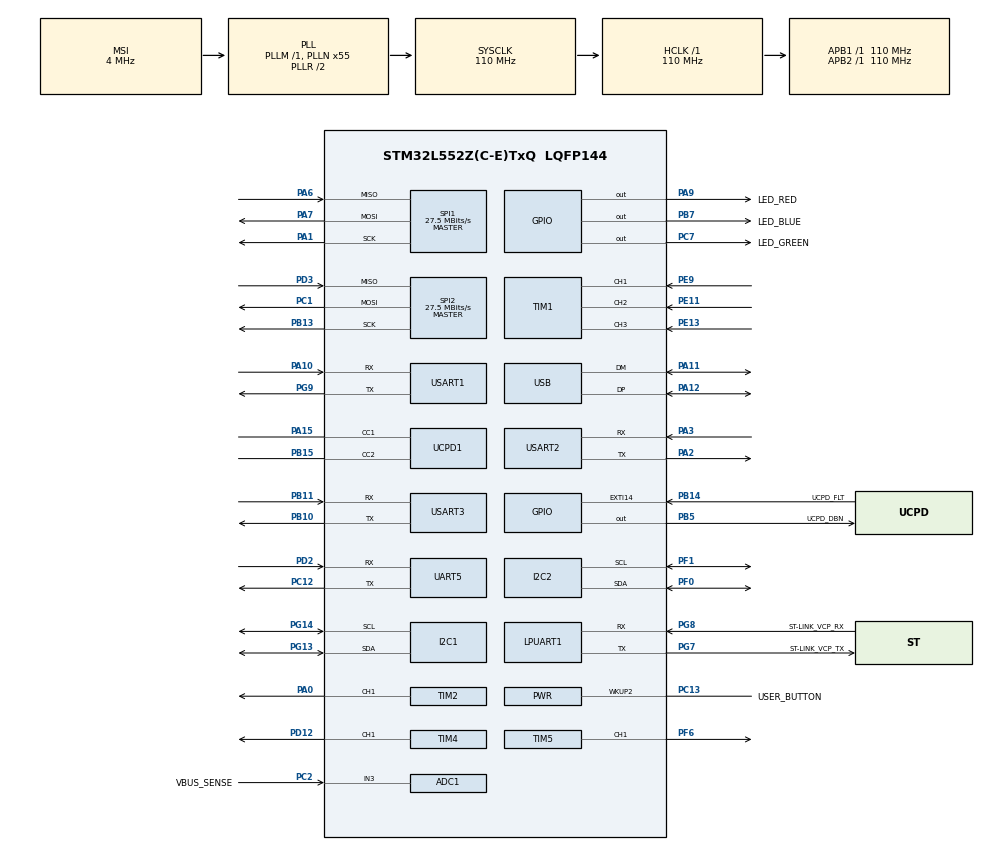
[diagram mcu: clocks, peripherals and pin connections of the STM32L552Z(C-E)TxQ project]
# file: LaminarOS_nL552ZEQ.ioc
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ADC1.Channel-0\#ChannelRegularConversion=ADC_CHANNEL_3
ADC1.NbrOfConversionFlag=1
ADC1.OffsetNumber-0\#ChannelRegularConversion=ADC_OFFSET_NONE
ADC1.Rank-0\#ChannelRegularConversion=1
ADC1.SamplingTime-0\#ChannelRegularConversion=ADC_SAMPLETIME_2CYCLES_5
ADC1.master=1
Dma.Request0=TIM5_CH1
Dma.TIM5_CH1.0.Channel_PRIV_NPRIV=DMA_CHANNEL_NPRIV_DISABLE
Dma.TIM5_CH1.0.Direction=DMA_MEMORY_TO_PERIPH
Dma.TIM5_CH1.0.EventEnable=DISABLE
Dma.TIM5_CH1.0.Instance=DMA1_Channel1
Dma.TIM5_CH1.0.MemDataAlignment=DMA_MDATAALIGN_WORD
Dma.TIM5_CH1.0.MemInc=DMA_MINC_ENABLE
Dma.TIM5_CH1.0.Mode=DMA_CIRCULAR
Dma.TIM5_CH1.0.PeriphDataAlignment=DMA_PDATAALIGN_WORD
Dma.TIM5_CH1.0.PeriphInc=DMA_PINC_DISABLE
Dma.TIM5_CH1.0.Polarity=HAL_DMAMUX_REQ_GEN_RISING
Dma.TIM5_CH1.0.Priority=DMA_PRIORITY_HIGH
Dma.TIM5_CH1.0.RequestNumber=1
Dma.TIM5_CH1.0.SignalID=NONE
Dma.TIM5_CH1.0.SyncEnable=DISABLE
Dma.TIM5_CH1.0.SyncPolarity=HAL_DMAMUX_SYNC_NO_EVENT
Dma.TIM5_CH1.0.SyncRequestNumber=1
Dma.TIM5_CH1.0.SyncSignalID=NONE
FREERTOS.Tasks01=defaultTask,24,128,StartDefaultTask,Default,NULL,Dynamic,NULL,NULL
FREERTOS.configTOTAL_HEAP_SIZE=15000
FREERTOS.configUSE_NEWLIB_REENTRANT=1
I2C1.Timing=0x40505681
I2C2.Timing=0x40505681
Mcu.Family=STM32L5
Mcu.Name=STM32L552Z(C-E)TxQ
Mcu.Package=LQFP144
Mcu.TrustZone=disable
NVIC.DMA1_Channel1_IRQn=true\:5\:0\:false\:false\:true\:true\:false\:true\:true
NVIC.PriorityGroup=NVIC_PRIORITYGROUP_3
NVIC.TIM3_IRQn=true\:7\:0\:false\:false\:true\:false\:false\:true\:true
NVIC.TimeBase=TIM3_IRQn
NVIC.TimeBaseIP=TIM3
PA0.Signal=S_TIM2_CH1
PA1.Mode=Full_Duplex_Master
PA1.Signal=SPI1_SCK
PA10.Mode=Asynchronous
PA10.Signal=USART1_RX
PA11.Mode=Device
PA11.Signal=USB_DM
PA12.Mode=Device
PA12.Signal=USB_DP
PA13\ (JTMS/SWDIO).Mode=Trace_Asynchronous_SW
PA13\ (JTMS/SWDIO).Signal=DEBUG_JTMS-SWDIO
PA14\ (JTCK/SWCLK).Mode=Trace_Asynchronous_SW
PA14\ (JTCK/SWCLK).Signal=DEBUG_JTCK-SWCLK
PA15\ (JTDI).Mode=Source_AllSignals
PA15\ (JTDI).Signal=UCPD1_CC1
PA2.Mode=Asynchronous
PA2.Signal=USART2_TX
PA3.Mode=Asynchronous
PA3.Signal=USART2_RX
PA6.Mode=Full_Duplex_Master
PA6.Signal=SPI1_MISO
PA7.Mode=Full_Duplex_Master
PA7.Signal=SPI1_MOSI
PA9.GPIO_Label=LED_RED
PA9.Signal=GPIO_Output
PB10.Mode=Asynchronous
PB10.Signal=USART3_TX
PB11.Mode=Asynchronous
PB11.Signal=USART3_RX
PB13.Mode=Full_Duplex_Master
PB13.Signal=SPI2_SCK
PB14.GPIO_Label=UCPD_FLT
PB14.Signal=GPXTI14
PB15.Mode=Source_AllSignals
PB15.Signal=UCPD1_CC2
PB3\ (JTDO/TRACESWO).Mode=Trace_Asynchronous_SW
PB3\ (JTDO/TRACESWO).Signal=DEBUG_JTDO-SWO
PB5.GPIO_Label=UCPD_DBN
PB5.Signal=GPIO_Output
PB7.GPIO_Label=LED_BLUE
PB7.Signal=GPIO_Output
PC1.Mode=Full_Duplex_Master
PC1.Signal=SPI2_MOSI
PC12.Mode=Asynchronous
PC12.Signal=UART5_TX
PC13.GPIO_Label=USER_BUTTON
PC13.Mode=WakeUp1
PC13.Signal=PWR_WKUP2
PC14-OSC32_IN\ (PC14).Mode=LSE-External-Oscillator
PC14-OSC32_IN\ (PC14).Signal=RCC_OSC32_IN
PC15-OSC32_OUT\ (PC15).Mode=LSE-External-Oscillator
PC15-OSC32_OUT\ (PC15).Signal=RCC_OSC32_OUT
PC2.GPIO_Label=VBUS_SENSE
PC2.Signal=ADCx_IN3
PC7.GPIO_Label=LED_GREEN
PC7.Signal=GPIO_Output
PD12.Signal=S_TIM4_CH1
PD2.Mode=Asynchronous
PD2.Signal=UART5_RX
PD3.Mode=Full_Duplex_Master
PD3.Signal=SPI2_MISO
PE11.Signal=S_TIM1_CH2
PE13.Signal=S_TIM1_CH3
PE9.Signal=S_TIM1_CH1
PF0.Mode=I2C
PF0.Signal=I2C2_SDA
PF1.Mode=I2C
PF1.Signal=I2C2_SCL
PF6.Signal=S_TIM5_CH1
PG13.Mode=I2C
PG13.Signal=I2C1_SDA
PG14.Mode=I2C
PG14.Signal=I2C1_SCL
PG7.GPIO_Label=ST-LINK_VCP_TX
PG7.Mode=Asynchronous
PG7.Signal=LPUART1_TX
PG8.GPIO_Label=ST-LINK_VCP_RX
PG8.Mode=Asynchronous
PG8.Signal=LPUART1_RX
PG9.Mode=Asynchronous
PG9.Signal=USART1_TX
ProjectManager.HeapSize=0x200
ProjectManager.StackSize=0x400
ProjectManager.TargetToolchain=STM32CubeIDE
RCC.ADCCLockSelection=RCC_ADCCLKSOURCE_SYSCLK
RCC.ADCFreq_Value=110000000
RCC.AHBFreq_Value=110000000
RCC.APB1Freq_Value=110000000
RCC.APB1TimFreq_Value=110000000
RCC.APB2Freq_Value=110000000
RCC.APB2TimFreq_Value=110000000
RCC.CK48CLockSelection=RCC_USBCLKSOURCE_HSI48
RCC.CortexFreq_Value=110000000
RCC.HCLKFreq_Value=110000000
RCC.HSE_VALUE=8000000
RCC.HSI48_VALUE=48000000
RCC.HSI_VALUE=16000000
RCC.MSI_VALUE=4000000
RCC.PLLN=55
RCC.PLLSAI1N=24
RCC.RTCClockSelection=RCC_RTCCLKSOURCE_LSE
RCC.SYSCLKFreq_VALUE=110000000
RCC.SYSCLKSource=RCC_SYSCLKSOURCE_PLLCLK
RCC.USBFreq_Value=48000000
RCC.VCOOutputFreq_Value=220000000
SH.ADCx_IN3.0=ADC1_IN3,IN3-Single-Ended
SH.S_TIM1_CH1.0=TIM1_CH1,Input_Capture1_from_TI1
SH.S_TIM1_CH2.0=TIM1_CH2,Input_Capture2_from_TI2
SH.S_TIM1_CH3.0=TIM1_CH3,Input_Capture3_from_TI3
SH.S_TIM2_CH1.0=TIM2_CH1,PWM Generation1 CH1
SH.S_TIM4_CH1.0=TIM4_CH1,PWM Generation1 CH1
SH.S_TIM5_CH1.0=TIM5_CH1,PWM Generation1 CH1
SPI1.BaudRatePrescaler=SPI_BAUDRATEPRESCALER_4
SPI1.CalculateBaudRate=27.5 MBits/s
SPI1.Direction=SPI_DIRECTION_2LINES
SPI1.Mode=SPI_MODE_MASTER
SPI1.VirtualType=VM_MASTER
SPI2.BaudRatePrescaler=SPI_BAUDRATEPRESCALER_4
SPI2.CalculateBaudRate=27.5 MBits/s
SPI2.Direction=SPI_DIRECTION_2LINES
SPI2.Mode=SPI_MODE_MASTER
SPI2.VirtualType=VM_MASTER
TIM1.Channel-Input_Capture1_from_TI1=TIM_CHANNEL_1
TIM1.Channel-Input_Capture2_from_TI2=TIM_CHANNEL_2
TIM1.Channel-Input_Capture3_from_TI3=TIM_CHANNEL_3
TIM2.Channel-PWM\ Generation1\ CH1=TIM_CHANNEL_1
TIM4.Channel-PWM\ Generation1\ CH1=TIM_CHANNEL_1
TIM4.Period=64000
TIM5.Channel-PWM\ Generation1\ CH1=TIM_CHANNEL_1
TIM5.Period=64000
USART1.VirtualMode-Asynchronous=VM_ASYNC
USART2.VirtualMode-Asynchronous=VM_ASYNC
USART3.VirtualMode-Asynchronous=VM_ASYNC
VP_FREERTOS_VS_CMSIS_V2.Mode=CMSIS_V2
VP_PWR_VS_DBSignals.Mode=DisableDeadBatterySignals
VP_RTC_VS_RTC_Activate.Mode=RTC_Enabled
VP_SYS_VS_tim3.Mode=TIM3
VP_TIM4_VS_ClockSourceINT.Mode=Internal
board=NUCLEO-L552ZE-Q

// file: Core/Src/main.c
/* USER CODE BEGIN Header */
/**
  ******************************************************************************
  * @file           : main.c
  * @brief          : Main program body
  ******************************************************************************
  * @attention
  *
  * Copyright (c) 2022 STMicroelectronics.
  * All rights reserved.
  *
  * This software is licensed under terms that can be found in the LICENSE file
  * in the root directory of this software component.
  * If no LICENSE file comes with this software, it is provided AS-IS.
  *
  ******************************************************************************
  */
/* USER CODE END Header */
#include "main.h"
#include "cmsis_os.h"
#include "adc.h"
#include "dma.h"
#include "i2c.h"
#include "usart.h"
#include "rtc.h"
#include "spi.h"
#include "tim.h"
#include "ucpd.h"
#include "gpio.h"

void SystemClock_Config(void);
void MX_FREERTOS_Init(void);

/* USER CODE BEGIN 0 */
void losInit(void) {
  HAL_Init();

  /* Configure the system clock */
  SystemClock_Config();

  /* Initialize all configured peripherals */
  MX_GPIO_Init();
  MX_ADC1_Init();
  MX_LPUART1_UART_Init();
  MX_RTC_Init();
  MX_UCPD1_Init();
  MX_USB_PCD_Init();
  MX_I2C1_Init();
  MX_I2C2_Init();
  MX_UART5_Init();
  MX_USART1_UART_Init();
  MX_USART2_UART_Init();
  MX_USART3_UART_Init();
  MX_SPI1_Init();
  MX_SPI2_Init();
  MX_TIM1_Init();
  MX_TIM2_Init();
  MX_TIM4_Init();
  MX_TIM5_Init();
  MX_DMA_Init();

  /* Init scheduler */
  osKernelInitialize();
  MX_FREERTOS_Init();

}

void losKernelStart(void) {
  /* Start scheduler */
  osKernelStart();
}
/* USER CODE END 0 */

void SystemClock_Config(void)
{
  RCC_OscInitTypeDef RCC_OscInitStruct = {0};
  RCC_ClkInitTypeDef RCC_ClkInitStruct = {0};

  /** Configure the main internal regulator output voltage
  */
  if (HAL_PWREx_ControlVoltageScaling(PWR_REGULATOR_VOLTAGE_SCALE0) != HAL_OK)
  {
    Error_Handler();
  }

  /** Configure LSE Drive Capability
  */
  HAL_PWR_EnableBkUpAccess();
  __HAL_RCC_LSEDRIVE_CONFIG(RCC_LSEDRIVE_LOW);

  /** Initializes the RCC Oscillators according to the specified parameters
  * in the RCC_OscInitTypeDef structure.
  */
  RCC_OscInitStruct.OscillatorType = RCC_OSCILLATORTYPE_HSI48|RCC_OSCILLATORTYPE_LSE
                              |RCC_OSCILLATORTYPE_MSI;
  RCC_OscInitStruct.LSEState = RCC_LSE_ON;
  RCC_OscInitStruct.HSI48State = RCC_HSI48_ON;
  RCC_OscInitStruct.MSIState = RCC_MSI_ON;
  RCC_OscInitStruct.MSICalibrationValue = RCC_MSICALIBRATION_DEFAULT;
  RCC_OscInitStruct.MSIClockRange = RCC_MSIRANGE_6;
  RCC_OscInitStruct.PLL.PLLState = RCC_PLL_ON;
  RCC_OscInitStruct.PLL.PLLSource = RCC_PLLSOURCE_MSI;
  RCC_OscInitStruct.PLL.PLLM = 1;
  RCC_OscInitStruct.PLL.PLLN = 55;
  RCC_OscInitStruct.PLL.PLLP = RCC_PLLP_DIV7;
  RCC_OscInitStruct.PLL.PLLQ = RCC_PLLQ_DIV2;
  RCC_OscInitStruct.PLL.PLLR = RCC_PLLR_DIV2;
  if (HAL_RCC_OscConfig(&RCC_OscInitStruct) != HAL_OK)
  {
    Error_Handler();
  }

  /** Initializes the CPU, AHB and APB buses clocks
  */
  RCC_ClkInitStruct.ClockType = RCC_CLOCKTYPE_HCLK|RCC_CLOCKTYPE_SYSCLK
                              |RCC_CLOCKTYPE_PCLK1|RCC_CLOCKTYPE_PCLK2;
  RCC_ClkInitStruct.SYSCLKSource = RCC_SYSCLKSOURCE_PLLCLK;
  RCC_ClkInitStruct.AHBCLKDivider = RCC_SYSCLK_DIV1;
  RCC_ClkInitStruct.APB1CLKDivider = RCC_HCLK_DIV1;
  RCC_ClkInitStruct.APB2CLKDivider = RCC_HCLK_DIV1;

  if (HAL_RCC_ClockConfig(&RCC_ClkInitStruct, FLASH_LATENCY_5) != HAL_OK)
  {
    Error_Handler();
  }
}

void HAL_TIM_PeriodElapsedCallback(TIM_HandleTypeDef *htim)
{
  if (htim->Instance == TIM3) {
    HAL_IncTick();
  }
}

void Error_Handler(void)
{
  __disable_irq();
  while (1)
  {
  }
}
